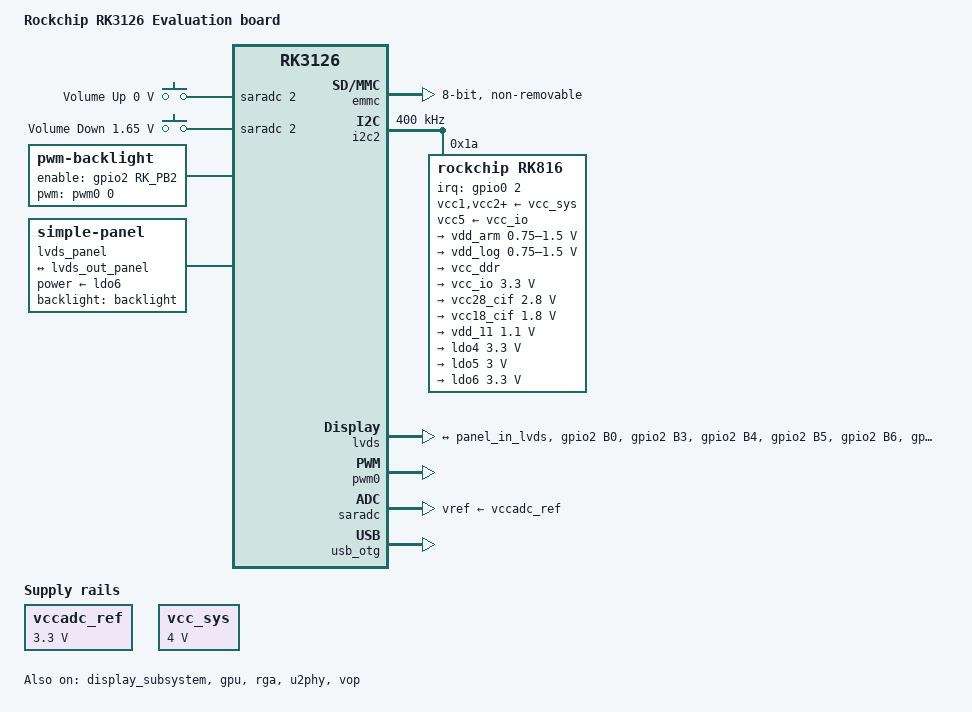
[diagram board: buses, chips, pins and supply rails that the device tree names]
/*
 * This file is dual-licensed: you can use it either under the terms
 * of the GPL or the X11 license, at your option. Note that this dual
 * licensing only applies to this file, and not this project as a
 * whole.
 *
 *  a) This file is free software; you can redistribute it and/or
 *     modify it under the terms of the GNU General Public License as
 *     published by the Free Software Foundation; either version 2 of the
 *     License, or (at your option) any later version.
 *
 *     This file is distributed in the hope that it will be useful,
 *     but WITHOUT ANY WARRANTY; without even the implied warranty of
 *     MERCHANTABILITY or FITNESS FOR A PARTICULAR PURPOSE.  See the
 *     GNU General Public License for more details.
 *
 *  Or, alternatively,
 *
 *  b) Permission is hereby granted, free of charge, to any person
 *     obtaining a copy of this software and associated documentation
 *     files (the "Software"), to deal in the Software without
 *     restriction, including without limitation the rights to use,
 *     copy, modify, merge, publish, distribute, sublicense, and/or
 *     sell copies of the Software, and to permit persons to whom the
 *     Software is furnished to do so, subject to the following
 *     conditions:
 *
 *     The above copyright notice and this permission notice shall be
 *     included in all copies or substantial portions of the Software.
 *
 *     THE SOFTWARE IS PROVIDED "AS IS", WITHOUT WARRANTY OF ANY KIND,
 *     EXPRESS OR IMPLIED, INCLUDING BUT NOT LIMITED TO THE WARRANTIES
 *     OF MERCHANTABILITY, FITNESS FOR A PARTICULAR PURPOSE AND
 *     NONINFRINGEMENT. IN NO EVENT SHALL THE AUTHORS OR COPYRIGHT
 *     HOLDERS BE LIABLE FOR ANY CLAIM, DAMAGES OR OTHER LIABILITY,
 *     WHETHER IN AN ACTION OF CONTRACT, TORT OR OTHERWISE, ARISING
 *     FROM, OUT OF OR IN CONNECTION WITH THE SOFTWARE OR THE USE OR
 *     OTHER DEALINGS IN THE SOFTWARE.
 */

/dts-v1/;
#include <dt-bindings/gpio/gpio.h>
#include <dt-bindings/input/input.h>
#include <dt-bindings/pinctrl/rockchip.h>
#include <dt-bindings/pwm/pwm.h>
#include "rk3126.dtsi"
#include "rk312x-android.dtsi"

/ {
	model = "Rockchip RK3126 Evaluation board";
	compatible = "rockchip,rk3126";

	adc-keys {
		compatible = "adc-keys";
		io-channels = <&saradc 2>;
		io-channel-names = "buttons";
		poll-interval = <100>;
		keyup-threshold-microvolt = <3300000>;

		button-up {
			label = "Volume Up";
			linux,code = <KEY_VOLUMEUP>;
			press-threshold-microvolt = <0>;
		};

		button-down {
			label = "Volume Down";
			linux,code = <KEY_VOLUMEDOWN>;
			press-threshold-microvolt = <1650000>;
		};
	};

	backlight: backlight {
		compatible = "pwm-backlight";
		brightness-levels = <
			0   1   2   3   4   5   6   7
			8   9  10  11  12  13  14  15
			16  17  18  19  20  21  22  23
			24  25  26  27  28  29  30  31
			32  33  34  35  36  37  38  39
			40  41  42  43  44  45  46  47
			48  49  50  51  52  53  54  55
			56  57  58  59  60  61  62  63
			64  65  66  67  68  69  70  71
			72  73  74  75  76  77  78  79
			80  81  82  83  84  85  86  87
			88  89  90  91  92  93  94  95
			96  97  98  99 100 101 102 103
			104 105 106 107 108 109 110 111
			112 113 114 115 116 117 118 119
			120 121 122 123 124 125 126 127
			128 129 130 131 132 133 134 135
			136 137 138 139 140 141 142 143
			144 145 146 147 148 149 150 151
			152 153 154 155 156 157 158 159
			160 161 162 163 164 165 166 167
			168 169 170 171 172 173 174 175
			176 177 178 179 180 181 182 183
			184 185 186 187 188 189 190 191
			192 193 194 195 196 197 198 199
			200 201 202 203 204 205 206 207
			208 209 210 211 212 213 214 215
			216 217 218 219 220 221 222 223
			224 225 226 227 228 229 230 231
			232 233 234 235 236 237 238 239
			240 241 242 243 244 245 246 247
			248 249 250 251 252 253 254 255>;
		default-brightness-level = <128>;
		pwms = <&pwm0 0 1000000 PWM_POLARITY_INVERTED>;
		enable-gpios = <&gpio2 RK_PB2 GPIO_ACTIVE_HIGH>;
	};

	lvds_panel: lvds-panel {
		status = "disabled";
		ports {
			panel_in_lvds: endpoint {
				remote-endpoint = <&lvds_out_panel>;
			};
		};
	};

	vccadc_ref: vccadc-ref {
		compatible = "regulator-fixed";
		regulator-name = "SARADC_AVDD33";
		regulator-always-on;
		regulator-boot-on;
		regulator-min-microvolt = <3300000>;
		regulator-max-microvolt = <3300000>;
	};

	vcc_sys: vcc-sys {
		compatible = "regulator-fixed";
		regulator-name = "vcc_sys";
		regulator-min-microvolt = <4000000>;
		regulator-max-microvolt = <4000000>;
		regulator-always-on;
	};
};

&cpu0 {
	cpu-supply = <&vdd_arm>;
};

&display_subsystem {
	status = "okay";
	route {
		route_lvds: route-lvds {
			status = "okay";
		};
	};
};

&dmc {
	center-supply = <&vdd_log>;
};

&emmc {
	bus-width = <8>;
	cap-mmc-highspeed;
	supports-emmc;
	disable-wp;
	non-removable;
	num-slots = <1>;
	pinctrl-names = "default";
	pinctrl-0 = <&emmc_clk &emmc_cmd &emmc_bus8>;
	status = "okay";
};

&gpu {
	status = "okay";
	mali-supply = <&vdd_log>;
};

&i2c2 {
	status = "okay";
	clock-frequency = <400000>;

	rk816: pmic@1a {
		compatible = "rockchip,rk816";
		reg = <0x1a>;
		interrupt-parent = <&gpio0>;
		interrupts = <2 IRQ_TYPE_LEVEL_LOW>;
		pinctrl-names = "default";
		pinctrl-0 = <&pmic_int_l>;
		rockchip,system-power-controller;
		wakeup-source;
		gpio-controller;
		#gpio-cells = <2>;
		#clock-cells = <1>;
		clock-output-names = "xin32k", "rk816-clkout2";
		extcon = <&u2phy>;

		vcc1-supply = <&vcc_sys>;
		vcc2-supply = <&vcc_sys>;
		vcc3-supply = <&vcc_sys>;
		vcc4-supply = <&vcc_sys>;
		vcc5-supply = <&vcc_io>;
		vcc6-supply = <&vcc_sys>;

		gpio {
			status = "okay";
		};

		pwrkey {
			status = "okay";
		};

		rtc {
			status = "okay";
		};

		battery {
			compatible = "rk816-battery";
			ocv_table = <3400 3654 3686 3710 3744 3775 3803
				     3825 3843 3858 3870 3886 3916 3955
				     3988 4010 4023 4032 4049 4080 4151>;
			design_capacity = <2000>;
			design_qmax = <2200>;
			bat_res = <120>;
			max_input_current = <2000>;
			max_chrg_current = <1000>;
			max_chrg_voltage = <4200>;
			sleep_enter_current = <300>;
			sleep_exit_current = <300>;
			sleep_filter_current = <100>;
			power_off_thresd = <3500>;
			zero_algorithm_vol = <3800>;
			fb_temperature = <105>;
			max_soc_offset = <60>;
			monitor_sec = <5>;
			virtual_power = <0>;
			energy_mode = <0>;
			power_dc2otg = <0>;
			dc_det_adc = <0>;
		};

		regulators {

			vdd_arm: DCDC_REG1{
				regulator-name= "vdd_arm";
				regulator-min-microvolt = <750000>;
				regulator-max-microvolt = <1500000>;
				regulator-ramp-delay = <6001>;
				regulator-always-on;
				regulator-boot-on;
				regulator-state-mem {
					regulator-on-in-suspend;
					regulator-suspend-microvolt = <900000>;
				};
			};

			vdd_log: DCDC_REG2 {
				regulator-name= "vdd_logic";
				regulator-min-microvolt = <750000>;
				regulator-max-microvolt = <1500000>;
				regulator-ramp-delay = <6001>;
				regulator-always-on;
				regulator-boot-on;
				regulator-state-mem {
					regulator-on-in-suspend;
					regulator-suspend-microvolt = <1000000>;
				};
			};

			vcc_ddr: DCDC_REG3 {
				regulator-name = "vcc_ddr";
				regulator-always-on;
				regulator-boot-on;
			};

			vcc_io: DCDC_REG4 {
				regulator-name = "vcc_io";
				regulator-min-microvolt = <3300000>;
				regulator-max-microvolt = <3300000>;
				regulator-always-on;
				regulator-boot-on;
				regulator-state-mem {
					regulator-on-in-suspend;
					regulator-suspend-microvolt = <3000000>;
				};
			};

			vcc28_cif: LDO_REG1 {
				regulator-name = "vcc28_cif";
				regulator-min-microvolt = <2800000>;
				regulator-max-microvolt = <2800000>;
				regulator-always-on;
				regulator-boot-on;
				regulator-state-mem {
					regulator-off-in-suspend;
				};
			};

			vcc18_cif: LDO_REG2 {
				regulator-name = "vcc18_cif";
				regulator-min-microvolt = <1800000>;
				regulator-max-microvolt = <1800000>;
				regulator-always-on;
				regulator-boot-on;
				regulator-state-mem {
					regulator-off-in-suspend;
				};
			};

			vdd_11: LDO_REG3 {
				regulator-name = "vdd_11";
				regulator-min-microvolt = <1100000>;
				regulator-max-microvolt = <1100000>;
				regulator-always-on;
				regulator-boot-on;
				regulator-state-mem {
					regulator-on-in-suspend;
					regulator-suspend-microvolt = <1100000>;
				};
			};

			ldo4: LDO_REG4 {
				regulator-name= "ldo4";
				regulator-min-microvolt = <3300000>;
				regulator-max-microvolt = <3300000>;
				regulator-always-on;
				regulator-boot-on;
				regulator-state-mem {
					regulator-off-in-suspend;
				};
			};

			ldo5: LDO_REG5 {
				regulator-name= "ldo5";
				regulator-min-microvolt = <3000000>;
				regulator-max-microvolt = <3000000>;
				regulator-always-on;
				regulator-boot-on;
				regulator-state-mem {
					regulator-off-in-suspend;
				};
			};

			ldo6: LDO_REG6 {
				regulator-name= "ldo6";
				regulator-min-microvolt = <3300000>;
				regulator-max-microvolt = <3300000>;
				regulator-state-mem {
					regulator-on-in-suspend;
					regulator-suspend-microvolt = <3300000>;
				};
			};
		};
	};
};

&lvds {
	status = "okay";
	pinctrl-names = "lcdc";
	pinctrl-0 = <&lcdc_lcdc>;
	ports {
		lvds_out: port@1 {
			reg = <1>;
			#address-cells = <1>;
			#size-cells = <0>;

			lvds_out_panel: endpoint@0 {
				reg = <0>;
				remote-endpoint = <&panel_in_lvds>;
			};
		};
	};
};

&lvds_panel {
	status = "okay";
	compatible ="simple-panel";
	backlight = <&backlight>;
	bus-format = <MEDIA_BUS_FMT_RGB666_1X18>;
	/* enable-gpios = <&gpio2 10 GPIO_ACTIVE_HIGH>;
	 * delay,disable = <10>;
	 * power-supply = <&vcc_lcd>;
	 */
	power-supply = <&ldo6>;
	power-invert = <1>;
	rockchip,data-mapping = "jeida";
	rockchip,data-width = <18>;
	rockchip,output = "rgb";

	display-timings {
		native-mode = <&timing0>;
		timing0: timing0 {
			clock-frequency = <60000000>;
			hactive = <1024>;
			vactive = <600>;
			hback-porch = <100>;
			hfront-porch = <120>;
			vback-porch = <10>;
			vfront-porch = <15>;
			hsync-len = <100>;
			vsync-len = <10>;
			hsync-active = <0>;
			vsync-active = <0>;
			de-active = <0>;
			pixelclk-active = <0>;
		};
	};
};

&pinctrl {
	lcdc {
		lcdc_lcdc: lcdc-lcdc {
			rockchip,pins =
				/* depend on the hardware */
				<2 RK_PB0 1 &pcfg_pull_none>, /* DCLK */
				/* <2 RK_PB1 1 &pcfg_pull_none>, /* HSYNC */
				/* <2 RK_PB2 1 &pcfg_pull_none>, /* VSYNC */
				<2 RK_PB3 1 &pcfg_pull_none>, /* DEN */
				<2 RK_PB4 1 &pcfg_pull_none>, /* DATA10 */
				<2 RK_PB5 1 &pcfg_pull_none>, /* DATA11 */
				<2 RK_PB6 1 &pcfg_pull_none>, /* DATA12 */
				<2 RK_PB7 1 &pcfg_pull_none>, /* DATA13 */
				<2 RK_PC0 1 &pcfg_pull_none>, /* DATA14 */
				<2 RK_PC1 1 &pcfg_pull_none>, /* DATA15 */
				<2 RK_PC2 1 &pcfg_pull_none>, /* DATA16 */
				<2 RK_PC3 1 &pcfg_pull_none>; /* DATA17 */
				/* <2 RK_PC4 1 &pcfg_pull_none>, /* DATA18 */
				/* <2 RK_PC5 1 &pcfg_pull_none>, /* DATA19 */
				/* <2 RK_PC6 1 &pcfg_pull_none>, /* DATA20 */
				/* <2 RK_PC7 1 &pcfg_pull_none>, /* DATA21 */
				/* <2 RK_PD0 1 &pcfg_pull_none>, /* DATA22 */
				/* <2 RK_PD1 1 &pcfg_pull_none>; /* DATA23 */
		};
	};

	pmic {
		pmic_int_l: pmic-int-l {
			rockchip,pins =
				<0 2 RK_FUNC_GPIO &pcfg_pull_default>;
		};
	};
};

&pwm0 {
	status = "okay";
};

&rga {
	status = "okay";
};

&saradc {
	status = "okay";
	vref-supply = <&vccadc_ref>;
};

&sdmmc {
	cap-mmc-highspeed;
	supports-sd;
	broken-cd;
	card-detect-delay = <800>;
	ignore-pm-notify;
	keep-power-in-suspend;
	cd-gpios = <&gpio1 10 GPIO_ACTIVE_HIGH>; /* CD GPIO */
	status = "disabled";
};

&sdio {
	cap-mmc-highspeed;
	supports-sdio;
	ignore-pm-notify;
	keep-power-in-suspend;
	non-removable;
	cap-sdio-irq;
	status = "disabled";
};

&u2phy {
	status = "okay";

	u2phy_otg: otg-port {
		status = "okay";
	};

	u2phy_host: host-port {
		status = "okay";
	};
};

&usb_otg {
	status = "okay";
};

&vop {
	status = "okay";
};

&vop_mmu {
	status = "okay";
};
